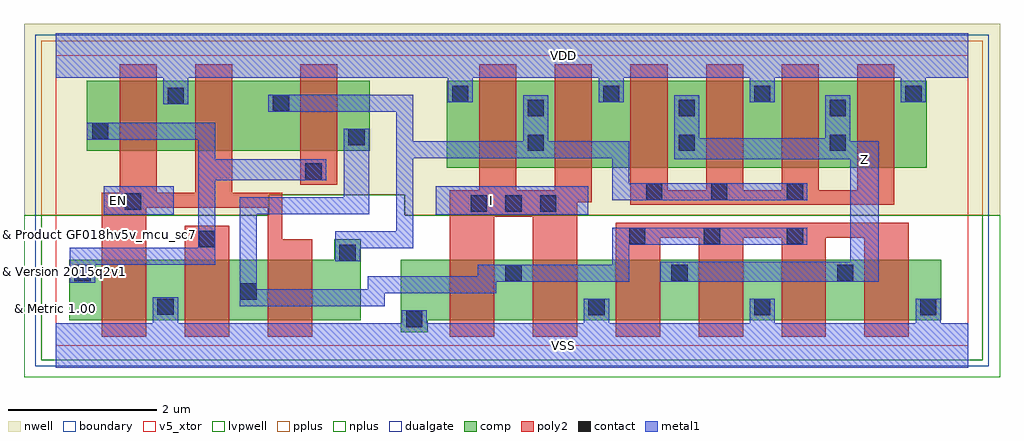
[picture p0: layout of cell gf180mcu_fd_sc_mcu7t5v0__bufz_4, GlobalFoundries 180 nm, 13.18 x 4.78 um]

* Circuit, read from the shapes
.subckt gf180mcu_fd_sc_mcu7t5v0__bufz_4 EN I VDD VSS Z
XM1 VSS EN n1 VSUBS nfet_05v0 w=0.82u l=0.6u
XM2 n2 n1 VSS VSUBS nfet_05v0 w=0.82u l=0.6u
XM3 n3 EN n2 VSUBS nfet_05v0 w=0.82u l=0.6u
XM4 n2 I VSS VSUBS nfet_05v0 w=0.82u l=0.6u m=2
XM5 Z n2 VSS VSUBS nfet_05v0 w=0.82u l=0.6u m=4
XM6 VDD EN n1 n4 pfet_05v0 w=0.945u l=0.5u
XM7 n3 EN VDD n4 pfet_05v0 w=0.945u l=0.5u
XM8 n2 n1 n3 n4 pfet_05v0 w=0.945u l=0.5u
XM9 n3 I VDD n4 pfet_05v0 w=1.175u l=0.5u m=2
XM10 Z n3 VDD n4 pfet_05v0 w=1.175u l=0.5u m=4
.ends

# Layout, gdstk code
import gdstk
lib = gdstk.Library(unit=1e-6, precision=1e-09)
def R(c, l, rs):  # rectangles x0, y0, x1, y1
    for r in rs: c.add(gdstk.rectangle(r[:2], r[2:], *l))
def A(c, l, x, y, w, h, nx, ny, dx, dy):  # array of equal rectangles
    R(c, l, [(x+i*dx, y+j*dy, x+i*dx+w, y+j*dy+h) for i in range(nx) for j in range(ny)])
def P(c, l, *ps):  # polygons
    for p in ps: c.add(gdstk.Polygon(p, *l))
boundary = (0, 0)
nwell = (21, 0)
comp = (22, 0)
poly2 = (30, 0)
pplus = (31, 0)
nplus = (32, 0)
contact = (33, 0)
metal1 = (34, 0)
dualgate = (55, 0)
v5_xtor = (112, 1)
lvpwell = (204, 0)

gf180mcu_fd_sc_mcu7t5v0_ = lib.new_cell('gf180mcu_fd_sc_mcu7t5v0__bufz_4')
R(gf180mcu_fd_sc_mcu7t5v0_, boundary, [(0,0,12.32,3.92)])
P(gf180mcu_fd_sc_mcu7t5v0_, nwell, [(-0.43,1.76),(-0.43,4.35),(12.75,4.35),(12.75,1.76),(4.715,1.76),(4.715,2.035),(2.875,2.035),(2.875,1.76)])
R(gf180mcu_fd_sc_mcu7t5v0_, comp, [(5.28,2.405,11.76,3.58), (0.42,2.635,4.24,3.58)])
P(gf180mcu_fd_sc_mcu7t5v0_, comp, [(0.18,0.34),(0.18,1.16),(3.76,1.16),(3.76,1.435),(4.12,1.435),(4.12,0.34)],
  [(4.66,0.18),(4.66,1.16),(11.96,1.16),(11.96,0.34),(5.02,0.34),(5.02,0.18)])
R(gf180mcu_fd_sc_mcu7t5v0_, poly2, [(1.74,0.12,2.34,1.62), (3.3,2.17,3.8,3.8)])
P(gf180mcu_fd_sc_mcu7t5v0_, poly2, [(0.62,0.12),(0.62,2.065),(0.86,2.065),(0.86,3.8),(1.36,3.8),(1.36,2.065),(1.88,2.065),(1.88,3.8),(2.38,3.8),(2.38,2.065),(3.06,2.065),(3.06,1.44),(3.46,1.44),(3.46,0.12),(2.86,0.12),(2.86,1.865),(1.22,1.865),(1.22,0.12)],
  [(5.32,0.12),(5.32,2.1),(5.72,2.1),(5.72,3.8),(6.22,3.8),(6.22,2.1),(6.74,2.1),(6.74,3.8),(7.24,3.8),(7.24,1.935),(7.04,1.935),(7.04,0.12),(6.44,0.12),(6.44,1.74),(5.92,1.74),(5.92,0.12)],
  [(7.76,1.9),(7.76,3.8),(8.26,3.8),(8.26,2.1),(8.78,2.1),(8.78,3.8),(9.28,3.8),(9.28,2.1),(9.8,2.1),(9.8,3.8),(10.3,3.8),(10.3,2.1),(10.82,2.1),(10.82,3.8),(11.32,3.8),(11.32,1.9)],
  [(7.56,0.12),(7.56,1.66),(11.52,1.66),(11.52,0.12),(10.92,0.12),(10.92,1.46),(10.4,1.46),(10.4,0.12),(9.8,0.12),(9.8,1.46),(9.28,1.46),(9.28,0.12),(8.68,0.12),(8.68,1.46),(8.16,1.46),(8.16,0.12)])
P(gf180mcu_fd_sc_mcu7t5v0_, pplus, [(-0.2,1.76),(-0.2,4.12),(12.52,4.12),(12.52,1.76),(4.715,1.76),(4.715,2.035),(2.875,2.035),(2.875,1.76)])
P(gf180mcu_fd_sc_mcu7t5v0_, nplus, [(-0.2,-0.2),(-0.2,1.76),(2.875,1.76),(2.875,2.035),(4.715,2.035),(4.715,1.76),(12.52,1.76),(12.52,-0.2)])
A(gf180mcu_fd_sc_mcu7t5v0_, contact, 7.19, 0.41, 0.22, 0.22, 3, 1, 2.24, 0)
A(gf180mcu_fd_sc_mcu7t5v0_, contact, 6.07, 0.87, 0.22, 0.22, 3, 1, 2.24, 0)
A(gf180mcu_fd_sc_mcu7t5v0_, contact, 5.6, 1.81, 0.22, 0.22, 3, 1, 0.47, 0)
A(gf180mcu_fd_sc_mcu7t5v0_, contact, 6.37, 2.63, 0.22, 0.22, 3, 2, 2.04, 0.47)
A(gf180mcu_fd_sc_mcu7t5v0_, contact, 5.35, 3.29, 0.22, 0.22, 4, 1, 2.04, 0)
R(gf180mcu_fd_sc_mcu7t5v0_, contact, [(4.73,0.25,4.95,0.47), (1.37,0.415,1.59,0.635), (2.49,0.62,2.71,0.84), (0.25,0.87,0.47,1.09), (3.83,1.145,4.05,1.365), (1.93,1.33,2.15,1.55), (7.74,1.37,7.96,1.59), (8.75,1.37,8.97,1.59), (9.87,1.37,10.09,1.59), (0.93,1.835,1.15,2.055), (7.97,1.97,8.19,2.19), (8.85,1.97,9.07,2.19), (9.87,1.97,10.09,2.19), (3.37,2.24,3.59,2.46), (3.95,2.705,4.17,2.925), (0.49,2.785,0.71,3.005), (2.93,3.165,3.15,3.385), (1.51,3.265,1.73,3.485)])
R(gf180mcu_fd_sc_mcu7t5v0_, metal1, [(0.65,1.77,1.59,2.15), (5.13,1.77,7.19,2.15)])
P(gf180mcu_fd_sc_mcu7t5v0_, metal1, [(0.19,0.85),(0.19,1.325),(1.925,1.325),(1.925,2.78),(0.42,2.78),(0.42,3.01),(2.155,3.01),(2.155,2.52),(3.65,2.52),(3.65,2.235),(2.155,2.235),(2.155,1.095),(0.53,1.095),(0.53,0.85)],
  [(2.485,0.53),(2.485,2.005),(3.89,2.005),(3.89,2.93),(4.23,2.93),(4.23,1.775),(2.715,1.775),(2.715,0.76),(4.215,0.76),(4.215,0.935),(5.695,0.935),(5.695,1.095),(7.515,1.095),(7.515,1.595),(10.15,1.595),(10.15,1.365),(7.745,1.365),(7.745,0.865),(5.945,0.865),(5.945,0.705),(4.44,0.705),(4.44,0.53)],
  [(3.77,1.14),(3.77,1.545),(4.595,1.545),(4.595,3.16),(2.87,3.16),(2.87,3.39),(4.825,3.39),(4.825,2.76),(6.31,2.76),(6.31,3.38),(6.65,3.38),(6.65,2.76),(7.745,2.76),(7.745,2.195),(10.15,2.195),(10.15,1.965),(7.515,1.965),(7.515,2.53),(4.825,2.53),(4.825,1.315),(4.11,1.315),(4.11,1.14)],
  [(8.16,0.865),(8.16,1.135),(10.73,1.135),(10.73,2.52),(8.35,2.52),(8.35,3.38),(8.69,3.38),(8.69,2.8),(10.39,2.8),(10.39,3.38),(10.73,3.38),(10.73,2.76),(11.11,2.76),(11.11,0.865)],
  [(0,-0.3),(0,0.3),(1.31,0.3),(1.31,0.655),(1.65,0.655),(1.65,0.3),(4.67,0.3),(4.67,0.475),(5.01,0.475),(5.01,0.3),(7.13,0.3),(7.13,0.635),(7.47,0.635),(7.47,0.3),(9.37,0.3),(9.37,0.635),(9.71,0.635),(9.71,0.3),(11.61,0.3),(11.61,0.635),(11.95,0.635),(11.95,0.3),(12.32,0.3),(12.32,-0.3)],
  [(1.45,3.26),(1.45,3.62),(0,3.62),(0,4.22),(12.32,4.22),(12.32,3.62),(11.75,3.62),(11.75,3.285),(11.41,3.285),(11.41,3.62),(9.71,3.62),(9.71,3.285),(9.37,3.285),(9.37,3.62),(7.67,3.62),(7.67,3.285),(7.33,3.285),(7.33,3.62),(5.63,3.62),(5.63,3.285),(5.29,3.285),(5.29,3.62),(1.79,3.62),(1.79,3.26)])
R(gf180mcu_fd_sc_mcu7t5v0_, dualgate, [(-0.28,-0.28,12.6,4.2)])
R(gf180mcu_fd_sc_mcu7t5v0_, v5_xtor, [(0,0,12.32,3.92)])
P(gf180mcu_fd_sc_mcu7t5v0_, lvpwell, [(-0.43,-0.43),(-0.43,1.76),(2.875,1.76),(2.875,2.035),(4.715,2.035),(4.715,1.76),(12.75,1.76),(12.75,-0.43)])
gf180mcu_fd_sc_mcu7t5v0_.add(gdstk.Label('Z', (10.92,2.52), layer=34, texttype=10))
gf180mcu_fd_sc_mcu7t5v0_.add(gdstk.Label('EN', (0.84,1.96), layer=34, texttype=10))
gf180mcu_fd_sc_mcu7t5v0_.add(gdstk.Label('I', (5.88,1.96), layer=34, texttype=10))
gf180mcu_fd_sc_mcu7t5v0_.add(gdstk.Label('VSS', (6.855,0), layer=34, texttype=10))
gf180mcu_fd_sc_mcu7t5v0_.add(gdstk.Label('VDD', (6.855,3.92), layer=34, texttype=10))
gf180mcu_fd_sc_mcu7t5v0_.add(gdstk.Label('& Vendor GLOBALFOUNDRIES', (0,2), layer=63, texttype=63))
gf180mcu_fd_sc_mcu7t5v0_.add(gdstk.Label('& Product GF018hv5v_mcu_sc7', (0,1.5), layer=63, texttype=63))
gf180mcu_fd_sc_mcu7t5v0_.add(gdstk.Label('& Version 2015q2v1', (0,1), layer=63, texttype=63))
gf180mcu_fd_sc_mcu7t5v0_.add(gdstk.Label('& Metric 1.00', (0,0.5), layer=63, texttype=63))

lib.write_gds('gf180mcu_fd_sc_mcu7t5v0__bufz_4.gds')
